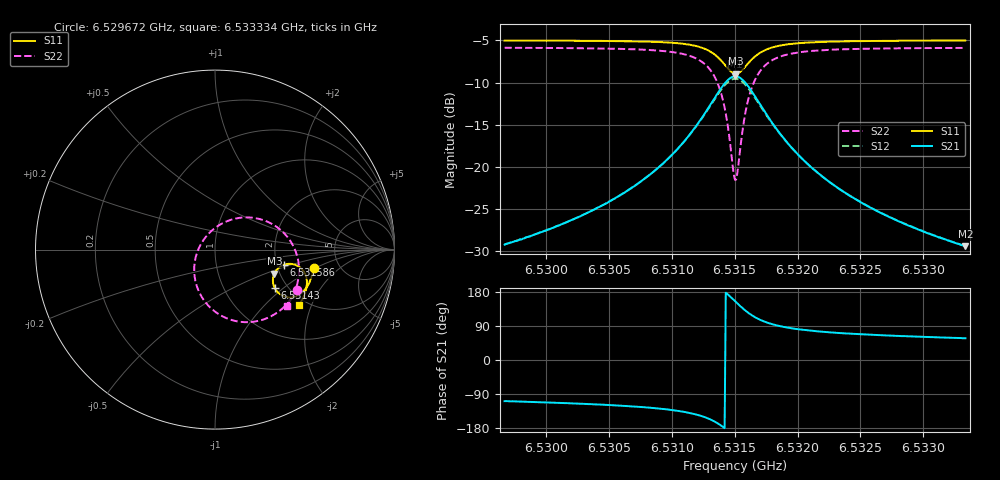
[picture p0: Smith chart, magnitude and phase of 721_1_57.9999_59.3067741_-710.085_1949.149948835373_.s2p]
#  HZ  S  RI  R  50.00
! Rohde & Schwarz Vector Network Analyzer
! Rohde-Schwarz,ZNB20-2Port,1311601062101988,3.16
! Created: UTC 3/21/2024, 1:22:40 AM
! freq[Hz]  re:S11  im:S11  re:S21  im:S21  re:S12  im:S12  re:S22  im:S22
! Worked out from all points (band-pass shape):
!   401 points, 6.529672 GHz to 6.533334 GHz, reference 50 ohm
!   highest |S21| = -9.27 dB at 6.531503 GHz (marker M1); lowest = -29.4 dB at 6.533334 GHz (marker M2)
!   |S21| within 3 dB of the highest: 6.531323 GHz to 6.531689 GHz (366.3 kHz wide, 0.00561 % of centre)
!   lowest |S11| = -9.0 dB at 6.531512 GHz (marker M3), VSWR 2.11, Z = 93.8 - j28.7 ohm
!   |S11| at or under -10 dB: nowhere
!   |S22| runs from -21.5 to -5.9 dB; largest |S21 - S12| = 0.014
!   S11 on the Smith chart (normalised r, x): 6.529672 GHz: 3.22, -0.98; 6.53143 GHz: 1.72, -0.88; 6.531586 GHz: 2.19, -0.44; 6.533334 GHz: 1.82, -1.64
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6.5296725e9  0.5503 -0.1049  -0.0111 -0.0329  -0.0117 -0.0328  0.4565 -0.2231
6.5302858e9  0.5364 -0.1568  -0.0223 -0.0466  -0.0234 -0.0461  0.4194 -0.281
6.5306245e9  0.523 -0.1893  -0.0364 -0.0602  -0.0381 -0.0595  0.3824 -0.3219
6.5308991e9  0.5034 -0.2207  -0.0618 -0.0788  -0.0641 -0.0768  0.3261 -0.364
6.5311096e9  0.4727 -0.2488  -0.107 -0.0978  -0.1098 -0.0935  0.2356 -0.3985
6.5312743e9  0.4199 -0.2655  -0.1893 -0.0995  -0.191 -0.0911  0.0868 -0.3905
6.5313659e9  0.3693 -0.2527  -0.2668 -0.0608  -0.2637 -0.0494  -0.0391 -0.31
6.5314025e9  0.3472 -0.2353  -0.2989 -0.0245  -0.2925 -0.0128  -0.0856 -0.2425
6.53143e9  0.3333 -0.2153  -0.3175 0.0136  -0.3086 0.024  -0.1091 -0.176
6.5314849e9  0.323 -0.1617  -0.3236 0.1101  -0.3104 0.115  -0.1001 -0.0171
6.5315032e9  0.3272 -0.1426  -0.3128 0.1433  -0.2995 0.1457  -0.0763 0.0347
6.5315123e9  0.331 -0.1334  -0.305 0.1589  -0.2916 0.1602  -0.0605 0.0589
6.5315306e9  0.3408 -0.1166  -0.2849 0.1874  -0.2724 0.1865  -0.0228 0.1013
6.5315856e9  0.3844 -0.0846  -0.2049 0.24  -0.1967 0.2354  0.1172 0.1735
6.531613e9  0.4077 -0.0795  -0.164 0.2478  -0.1579 0.2428  0.1864 0.1793
6.5316496e9  0.4353 -0.0813  -0.1162 0.2444  -0.1124 0.2402  0.2654 0.1654
6.5317412e9  0.4805 -0.1053  -0.0397 0.2076  -0.0379 0.2052  0.389 0.0871
6.5318785e9  0.5061 -0.1453  0.00498 0.1515  0.0062 0.1508  0.4543 -0.0241
6.5321165e9  0.512 -0.193  0.0223 0.0958  0.0234 0.0956  0.4675 -0.1366
6.5324094e9  0.5051 -0.2308  0.0236 0.0638  0.0246 0.0635  0.4532 -0.2087
6.5327297e9  0.4938 -0.2618  0.0217 0.0456  0.0226 0.0453  0.4338 -0.2561
6.5333339e9  0.4691 -0.3085  0.0183 0.0287  0.0189 0.0283  0.3987 -0.3138
